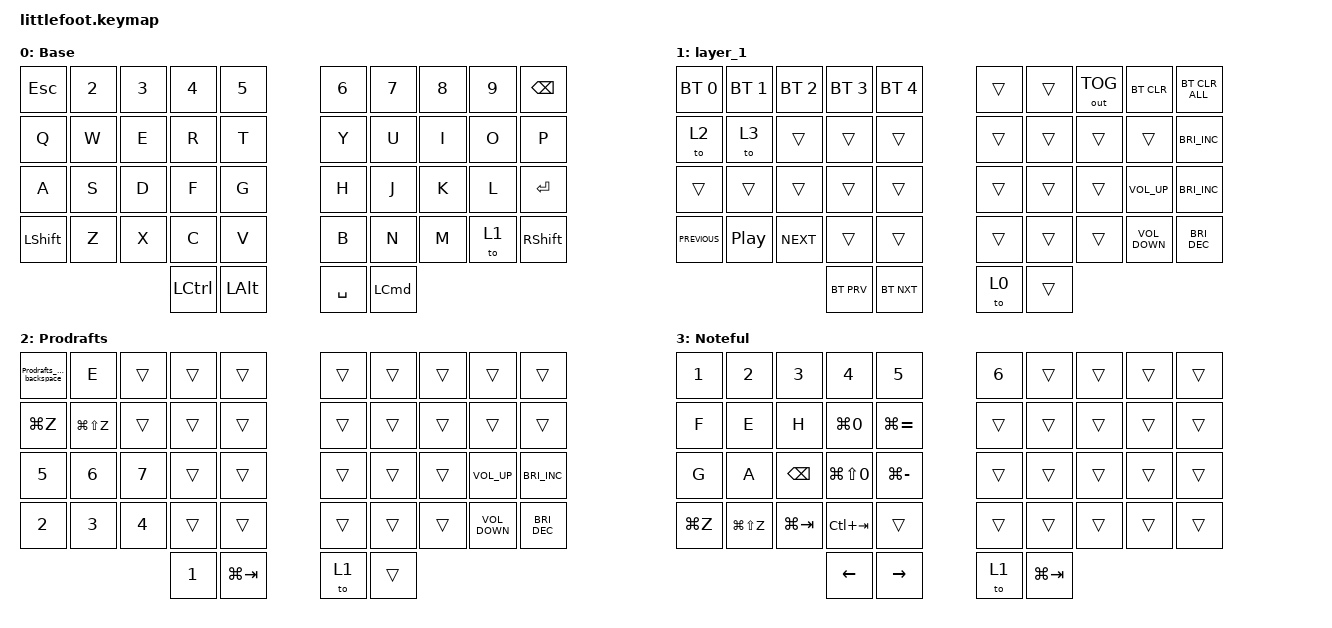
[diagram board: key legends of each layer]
#include <behaviors.dtsi>
#include <dt-bindings/zmk/bt.h>
#include <dt-bindings/zmk/keys.h>
#include <dt-bindings/zmk/outputs.h>

/ {
    behaviors {
        Prodrafts_Lasso_backspace: Prodrafts_Lasso_backspace {
            compatible = "zmk,behavior-tap-dance";
            label = "PRODRAFTS_LASSO_BACKSPACE";
            #binding-cells = <0>;
            bindings = <&kp V>, <&kp BACKSPACE>;
        };
    };

    keymap {
        compatible = "zmk,keymap";

        default_layer {
            display-name = "Base";
            bindings = <
&kp ESCAPE        &kp N2        &kp N3     &kp N4            &kp N5  &kp N6  &kp N7  &kp N8  &kp N9  &kp BACKSPACE
&kp Q             &kp W         &kp E      &kp R             &kp T   &kp Y   &kp U   &kp I   &kp O   &kp P
&kp A             &kp S         &kp D      &kp F             &kp G   &kp H   &kp J   &kp K   &kp L   &kp ENTER
&kp LEFT_SHIFT    &kp Z         &kp X      &kp C             &kp V   &kp B   &kp N   &kp M   &to 1   &kp RIGHT_SHIFT
&kp LEFT_CONTROL  &kp LEFT_ALT  &kp SPACE  &kp LEFT_COMMAND
            >;
        };

        layer_1 {
            bindings = <
&bt BT_SEL 0    &bt BT_SEL 1      &bt BT_SEL 2  &bt BT_SEL 3  &bt BT_SEL 4  &trans  &trans  &out OUT_TOG  &bt BT_CLR         &bt BT_CLR_ALL
&to 2           &to 3             &trans        &trans        &trans        &trans  &trans  &trans        &trans             &kp C_BRIGHTNESS_INC
&trans          &trans            &trans        &trans        &trans        &trans  &trans  &trans        &kp C_VOLUME_UP    &kp C_BRIGHTNESS_INC
&kp C_PREVIOUS  &kp C_PLAY_PAUSE  &kp C_NEXT    &trans        &trans        &trans  &trans  &trans        &kp C_VOLUME_DOWN  &kp C_BRI_DEC
&bt BT_PRV      &bt BT_NXT        &to 0         &trans
            >;
        };

        Prodrafts {
            bindings = <
&Prodrafts_Lasso_backspace  &kp E          &trans        &trans  &trans  &trans  &trans  &trans  &trans             &trans
&kp LG(Z)                   &kp LG(LS(Z))  &trans        &trans  &trans  &trans  &trans  &trans  &trans             &trans
&kp N5                      &kp NUMBER_6   &kp N7        &trans  &trans  &trans  &trans  &trans  &kp C_VOLUME_UP    &kp C_BRI_INC
&kp NUMBER_2                &kp NUMBER_3   &kp NUMBER_4  &trans  &trans  &trans  &trans  &trans  &kp C_VOLUME_DOWN  &kp C_BRIGHTNESS_DEC
&kp NUMBER_1                &kp LG(TAB)    &to 1         &trans
            >;
        };

        Noteful {
            bindings = <
&kp NUMBER_1  &kp NUMBER_2   &kp NUMBER_3   &kp NUMBER_4    &kp N5         &kp NUMBER_6  &trans  &trans  &trans  &trans
&kp F         &kp E          &kp H          &kp LG(N0)      &kp LG(EQUAL)  &trans        &trans  &trans  &trans  &trans
&kp G         &kp A          &kp BACKSPACE  &kp LG(LS(N0))  &kp LG(MINUS)  &trans        &trans  &trans  &trans  &trans
&kp LG(Z)     &kp LG(LS(Z))  &kp LG(TAB)    &kp LC(TAB)     &trans         &trans        &trans  &trans  &trans  &trans
&kp LEFT      &kp RIGHT      &to 1          &kp LG(TAB)
            >;
        };
    };
};
